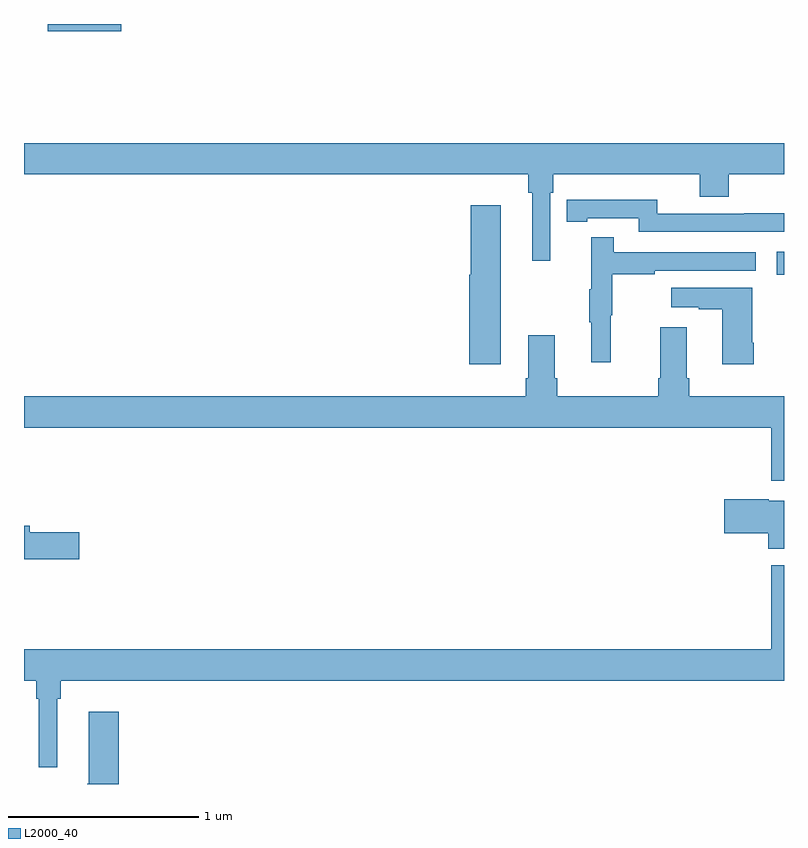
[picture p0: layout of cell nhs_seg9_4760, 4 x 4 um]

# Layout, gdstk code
import gdstk
lib = gdstk.Library(unit=1e-6, precision=1e-09)
def R(c, l, rs):  # rectangles x0, y0, x1, y1
    for r in rs: c.add(gdstk.rectangle(r[:2], r[2:], *l))
def P(c, l, *ps):  # polygons
    for p in ps: c.add(gdstk.Polygon(p, *l))
L2000_40 = (2000, 40)

nhs_seg9_4760 = lib.new_cell('nhs_seg9_4760')
R(nhs_seg9_4760, L2000_40, [(388.962,1241.181,389,1241.302), (385.124,1242.461,385.513,1242.5)])
P(nhs_seg9_4760, L2000_40, [(387.771,1241.612),(387.785,1241.612),(387.785,1241.708),(388.556,1241.708),(388.556,1241.591),(388.709,1241.591),(388.709,1241.708),(389,1241.708),(389,1241.872),(385,1241.872),(385,1241.708),(387.655,1241.708),(387.655,1241.612),(387.674,1241.612),(387.674,1241.253),(387.771,1241.253)],
  [(389,1241.504),(388.792,1241.504),(388.792,1241.502),(388.332,1241.502),(388.332,1241.575),(387.964,1241.575),(387.964,1241.574),(387.856,1241.574),(387.856,1241.458),(387.964,1241.458),(387.964,1241.478),(388.236,1241.478),(388.236,1241.406),(389,1241.406)],
  [(387.508,1241.545),(387.35,1241.545),(387.35,1241.181),(387.344,1241.181),(387.344,1240.71),(387.508,1240.71)],
  [(388.088,1240.968),(388.096,1240.968),(388.096,1241.182),(388.319,1241.182),(388.319,1241.202),(388.852,1241.202),(388.852,1241.298),(388.103,1241.298),(388.103,1241.377),(387.986,1241.377),(387.986,1241.105),(387.975,1241.105),(387.975,1240.931),(387.986,1240.931),(387.986,1240.719),(388.088,1240.719)],
  [(388.842,1240.822),(388.834,1240.822),(388.834,1241.113),(388.407,1241.113),(388.407,1241.009),(388.55,1241.009),(388.55,1240.999),(388.676,1240.999),(388.676,1240.71),(388.842,1240.71)],
  [(389,1240.54),(388.502,1240.54),(388.502,1240.636),(388.489,1240.636),(388.489,1240.903),(388.349,1240.903),(388.349,1240.636),(388.337,1240.636),(388.337,1240.54),(387.806,1240.54),(387.806,1240.636),(387.793,1240.636),(387.793,1240.861),(387.653,1240.861),(387.653,1240.636),(387.641,1240.636),(387.641,1240.54),(385,1240.54),(385,1240.376),(388.932,1240.376),(388.932,1240.095),(389,1240.095)],
  [(389,1239.991),(388.92,1239.991),(388.92,1239.999),(388.686,1239.999),(388.686,1239.821),(388.916,1239.821),(388.916,1239.737),(389,1239.737)],
  [(385.291,1239.824),(385.03,1239.824),(385.03,1239.86),(385,1239.86),(385,1239.682),(385.291,1239.682)],
  [(389,1239.652),(388.932,1239.652),(388.932,1239.208),(385,1239.208),(385,1239.044),(385.064,1239.044),(385.064,1238.948),(385.077,1238.948),(385.077,1238.589),(385.174,1238.589),(385.174,1238.948),(385.193,1238.948),(385.193,1239.044),(389,1239.044)],
  [(385.499,1238.881),(385.34,1238.881),(385.34,1238.501),(385.333,1238.501),(385.333,1238.5),(385.499,1238.5)])

lib.write_gds('nhs_seg9_4760.gds')
